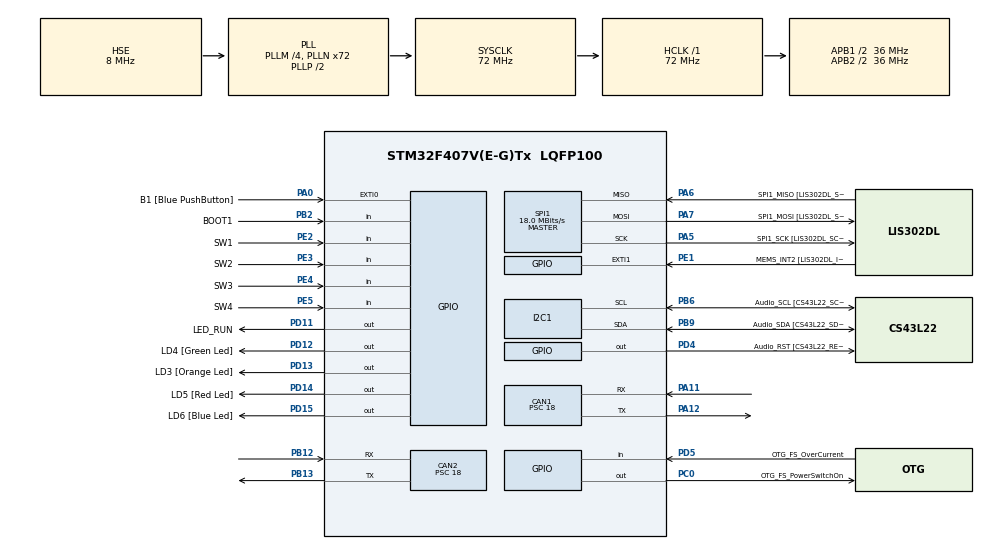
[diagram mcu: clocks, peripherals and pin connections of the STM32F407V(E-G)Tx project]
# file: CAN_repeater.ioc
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CAN1.BS1=CAN_BS1_13TQ
CAN1.BS2=CAN_BS2_2TQ
CAN1.CalculateBaudRate=125000
CAN1.CalculateTimeBit=8000
CAN1.CalculateTimeQuantum=500.0
CAN1.NART=ENABLE
CAN1.Prescaler=18
CAN2.BS1=CAN_BS1_13TQ
CAN2.BS2=CAN_BS2_2TQ
CAN2.CalculateBaudRate=125000
CAN2.CalculateTimeBit=8000
CAN2.CalculateTimeQuantum=500.0
CAN2.NART=ENABLE
CAN2.Prescaler=18
IWDG.Prescaler=IWDG_PRESCALER_16
Mcu.Family=STM32F4
Mcu.Name=STM32F407V(E-G)Tx
Mcu.Package=LQFP100
NVIC.CAN1_RX0_IRQn=true\:0\:0\:false\:false\:true\:true\:true
NVIC.CAN1_RX1_IRQn=true\:0\:0\:false\:false\:true\:true\:true
NVIC.CAN1_SCE_IRQn=true\:0\:0\:false\:false\:true\:true\:true
NVIC.CAN1_TX_IRQn=true\:0\:0\:false\:false\:true\:true\:true
NVIC.CAN2_RX0_IRQn=true\:0\:0\:false\:false\:true\:true\:true
NVIC.CAN2_RX1_IRQn=true\:0\:0\:false\:false\:true\:true\:true
NVIC.CAN2_SCE_IRQn=true\:0\:0\:false\:false\:true\:true\:true
NVIC.CAN2_TX_IRQn=true\:0\:0\:false\:false\:true\:true\:true
NVIC.PriorityGroup=NVIC_PRIORITYGROUP_0
NVIC.WWDG_IRQn=true\:0\:0\:false\:false\:true\:true\:true
PA0-WKUP.GPIO_Label=B1 [Blue PushButton]
PA0-WKUP.GPIO_ModeDefaultEXTI=GPIO_MODE_EVT_RISING
PA0-WKUP.GPIO_PuPd=GPIO_NOPULL
PA0-WKUP.Signal=GPXTI0
PA11.Mode=CAN_Activate
PA11.Signal=CAN1_RX
PA12.Mode=CAN_Activate
PA12.Signal=CAN1_TX
PA13.GPIO_Label=SWDIO
PA13.Mode=Serial_Wire
PA13.Signal=SYS_JTMS-SWDIO
PA14.GPIO_Label=SWCLK
PA14.Mode=Serial_Wire
PA14.Signal=SYS_JTCK-SWCLK
PA5.GPIO_Label=SPI1_SCK [LIS302DL_SCL/SPC]
PA5.GPIO_Mode=GPIO_MODE_AF_PP
PA5.GPIO_PuPd=GPIO_NOPULL
PA5.GPIO_Speed=GPIO_SPEED_FREQ_LOW
PA5.Mode=Full_Duplex_Master
PA5.Signal=SPI1_SCK
PA6.GPIO_Label=SPI1_MISO [LIS302DL_SDO]
PA6.GPIO_Mode=GPIO_MODE_AF_PP
PA6.GPIO_PuPd=GPIO_NOPULL
PA6.GPIO_Speed=GPIO_SPEED_FREQ_LOW
PA6.Mode=Full_Duplex_Master
PA6.Signal=SPI1_MISO
PA7.GPIO_Label=SPI1_MOSI [LIS302DL_SDA/SDI/SDO]
PA7.GPIO_Mode=GPIO_MODE_AF_PP
PA7.GPIO_PuPd=GPIO_NOPULL
PA7.GPIO_Speed=GPIO_SPEED_FREQ_LOW
PA7.Mode=Full_Duplex_Master
PA7.Signal=SPI1_MOSI
PB12.Mode=CAN_Activate
PB12.Signal=CAN2_RX
PB13.Mode=CAN_Activate
PB13.Signal=CAN2_TX
PB2.GPIO_Label=BOOT1
PB2.GPIO_Mode=GPIO_MODE_INPUT
PB2.GPIO_PuPd=GPIO_NOPULL
PB2.Signal=GPIO_Input
PB3.GPIO_Label=SWO
PB3.Signal=SYS_JTDO-SWO
PB6.GPIO_Label=Audio_SCL [CS43L22_SCL]
PB6.GPIO_Mode=GPIO_MODE_AF_OD
PB6.GPIO_Pu=GPIO_PULLUP
PB6.GPIO_PuPd=GPIO_NOPULL
PB6.GPIO_Speed=GPIO_SPEED_FREQ_LOW
PB6.Mode=I2C
PB6.Signal=I2C1_SCL
PB9.GPIO_Label=Audio_SDA [CS43L22_SDA]
PB9.GPIO_Mode=GPIO_MODE_AF_OD
PB9.GPIO_Pu=GPIO_PULLUP
PB9.GPIO_PuPd=GPIO_NOPULL
PB9.GPIO_Speed=GPIO_SPEED_FREQ_LOW
PB9.Mode=I2C
PB9.Signal=I2C1_SDA
PC0.GPIO_Label=OTG_FS_PowerSwitchOn
PC0.GPIO_PuPd=GPIO_NOPULL
PC0.GPIO_Speed=GPIO_SPEED_FREQ_LOW
PC0.PinState=GPIO_PIN_SET
PC0.Signal=GPIO_Output
PC10.GPIO_Label=I2S3_SCK [CS43L22_SCLK]
PC10.GPIO_Mode=GPIO_MODE_AF_PP
PC10.GPIO_PuPd=GPIO_NOPULL
PC10.GPIO_Speed=GPIO_SPEED_FREQ_LOW
PC10.Signal=I2S3_CK
PC12.GPIO_Label=I2S3_SD [CS43L22_SDIN]
PC12.GPIO_Mode=GPIO_MODE_AF_PP
PC12.GPIO_PuPd=GPIO_NOPULL
PC12.GPIO_Speed=GPIO_SPEED_FREQ_LOW
PC12.Signal=I2S3_SD
PC14-OSC32_IN.GPIO_Label=PC14-OSC32_IN
PC14-OSC32_IN.Mode=LSE-External-Oscillator
PC14-OSC32_IN.Signal=RCC_OSC32_IN
PC15-OSC32_OUT.GPIO_Label=PC15-OSC32_OUT
PC15-OSC32_OUT.Mode=LSE-External-Oscillator
PC15-OSC32_OUT.Signal=RCC_OSC32_OUT
PD11.GPIO_Label=LED_RUN
PD11.Signal=GPIO_Output
PD12.GPIO_Label=LD4 [Green Led]
PD12.GPIO_PuPd=GPIO_NOPULL
PD12.GPIO_Speed=GPIO_SPEED_FREQ_LOW
PD12.Signal=GPIO_Output
PD13.GPIO_Label=LD3 [Orange Led]
PD13.GPIO_PuPd=GPIO_NOPULL
PD13.GPIO_Speed=GPIO_SPEED_FREQ_LOW
PD13.Signal=GPIO_Output
PD14.GPIO_Label=LD5 [Red Led]
PD14.GPIO_PuPd=GPIO_NOPULL
PD14.GPIO_Speed=GPIO_SPEED_FREQ_LOW
PD14.Signal=GPIO_Output
PD15.GPIO_Label=LD6 [Blue Led]
PD15.GPIO_PuPd=GPIO_NOPULL
PD15.GPIO_Speed=GPIO_SPEED_FREQ_LOW
PD15.Signal=GPIO_Output
PD4.GPIO_Label=Audio_RST [CS43L22_RESET]
PD4.GPIO_PuPd=GPIO_NOPULL
PD4.GPIO_Speed=GPIO_SPEED_FREQ_LOW
PD4.Signal=GPIO_Output
PD5.GPIO_Label=OTG_FS_OverCurrent
PD5.GPIO_Mode=GPIO_MODE_INPUT
PD5.GPIO_PuPd=GPIO_NOPULL
PD5.Signal=GPIO_Input
PE1.GPIO_Label=MEMS_INT2 [LIS302DL_INT2]
PE1.GPIO_ModeDefaultEXTI=GPIO_MODE_EVT_RISING
PE1.GPIO_PuPd=GPIO_NOPULL
PE1.Signal=GPXTI1
PE2.GPIO_Label=SW1
PE2.Signal=GPIO_Input
PE3.GPIO_Label=SW2
PE3.Signal=GPIO_Input
PE4.GPIO_Label=SW3
PE4.Signal=GPIO_Input
PE5.GPIO_Label=SW4
PE5.Signal=GPIO_Input
PH0-OSC_IN.GPIO_Label=PH0-OSC_IN
PH0-OSC_IN.Mode=HSE-External-Oscillator
PH0-OSC_IN.Signal=RCC_OSC_IN
PH1-OSC_OUT.GPIO_Label=PH1-OSC_OUT
PH1-OSC_OUT.Mode=HSE-External-Oscillator
PH1-OSC_OUT.Signal=RCC_OSC_OUT
ProjectManager.HeapSize=0x2000
ProjectManager.StackSize=0x4000
ProjectManager.TargetToolchain=STM32CubeIDE
RCC.48MHZClocksFreq_Value=36000000
RCC.AHBFreq_Value=72000000
RCC.APB1CLKDivider=RCC_HCLK_DIV2
RCC.APB1Freq_Value=36000000
RCC.APB1TimFreq_Value=72000000
RCC.APB2CLKDivider=RCC_HCLK_DIV2
RCC.APB2Freq_Value=36000000
RCC.APB2TimFreq_Value=72000000
RCC.CortexFreq_Value=72000000
RCC.HCLKFreq_Value=72000000
RCC.HSE_VALUE=8000000
RCC.HSI_VALUE=16000000
RCC.PLLI2SN=50
RCC.PLLM=4
RCC.PLLN=72
RCC.PLLSourceVirtual=RCC_PLLSOURCE_HSE
RCC.SYSCLKFreq_VALUE=72000000
RCC.SYSCLKSource=RCC_SYSCLKSOURCE_PLLCLK
RCC.VCOOutputFreq_Value=144000000
SPI1.BaudRatePrescaler-Full_Duplex_Master=SPI_BAUDRATEPRESCALER_2
SPI1.CalculateBaudRate=18.0 MBits/s
SPI1.CalculateBaudRate-Full_Duplex_Master=42.0 MBits/s
SPI1.Direction=SPI_DIRECTION_2LINES
SPI1.Mode=SPI_MODE_MASTER
SPI1.Mode-Full_Duplex_Master=SPI_MODE_MASTER
SPI1.VirtualType=VM_MASTER
VP_IWDG_VS_IWDG.Mode=IWDG_Activate
VP_WWDG_VS_WWDG.Mode=WWDG_Activate
WWDG.Prescaler=WWDG_PRESCALER_8
board=STM32F407G-DISC1

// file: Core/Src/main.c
/* USER CODE BEGIN Header */
/**
  ******************************************************************************
  * @file           : main.c
  * @brief          : Main program body
  ******************************************************************************
  * @attention
  *
  * <h2><center>&copy; Copyright (c) 2021 STMicroelectronics.
  * All rights reserved.</center></h2>
  *
  * This software component is licensed by ST under Ultimate Liberty license
  * SLA0044, the "License"; You may not use this file except in compliance with
  * the License. You may obtain a copy of the License at:
  *                             www.st.com/SLA0044
  *
  ******************************************************************************
  */
/* USER CODE END Header */
#include "main.h"

/* USER CODE BEGIN Includes */
#include "string.h"
#include "canopen.h"

/* USER CODE END Includes */

/* USER CODE BEGIN PD */
#define CAN_RX_SIZE 8
/* USER CODE END PD */

CAN_HandleTypeDef hcan1;
CAN_HandleTypeDef hcan2;

I2C_HandleTypeDef hi2c1;

IWDG_HandleTypeDef hiwdg;

SPI_HandleTypeDef hspi1;

WWDG_HandleTypeDef hwwdg;

/* USER CODE BEGIN PV */
CAN_TxHeaderTypeDef CanTxHeader;
uint8_t CanTxData[8] = {0};
CAN_RxHeaderTypeDef Can1RxHeader[8];
uint8_t Can1RxData[8][8] = {0};
CAN_RxHeaderTypeDef Can2RxHeader[8];
uint8_t Can2RxData[8][8] = {0};
uint32_t              Tx1Mailbox;
uint32_t              Tx2Mailbox;
volatile uint8_t rc1=0,rc2=0,ri1=0,ri2=0,ro1=0,ro2=0;

uint32_t RxCan1_cnt =0,RxCan2_cnt =0;
uint32_t TxCan1_cnt =0,TxCan2_cnt =0;
char DebugBuf[1024];
uint16_t Debug_len =0;

volatile uint8_t Can1_tx_done =1;
volatile uint8_t Can2_tx_done =1;
/* USER CODE END PV */

void SystemClock_Config(void);
static void MX_GPIO_Init(void);
static void MX_CAN1_Init(void);
static void MX_CAN2_Init(void);
static void MX_I2C1_Init(void);
static void MX_SPI1_Init(void);
static void MX_WWDG_Init(void);
static void MX_IWDG_Init(void);
/* USER CODE BEGIN PFP */
static void MX_CAN1_slientMode_Init(void)
{

  /* USER CODE BEGIN CAN1_Init 0 */

  /* USER CODE END CAN1_Init 0 */

  /* USER CODE BEGIN CAN1_Init 1 */

  /* USER CODE END CAN1_Init 1 */
  hcan1.Instance = CAN1;
  hcan1.Init.Prescaler = 18;
  hcan1.Init.Mode = CAN_MODE_SILENT;
  hcan1.Init.SyncJumpWidth = CAN_SJW_1TQ;
  hcan1.Init.TimeSeg1 = CAN_BS1_13TQ;
  hcan1.Init.TimeSeg2 = CAN_BS2_2TQ;
  hcan1.Init.TimeTriggeredMode = DISABLE;
  hcan1.Init.AutoBusOff = DISABLE;
  hcan1.Init.AutoWakeUp = DISABLE;
  hcan1.Init.AutoRetransmission = ENABLE;
  hcan1.Init.ReceiveFifoLocked = DISABLE;
  hcan1.Init.TransmitFifoPriority = DISABLE;
  if (HAL_CAN_Init(&hcan1) != HAL_OK)
  {
    Error_Handler();
  }
  /* USER CODE BEGIN CAN1_Init 2 */

  /* USER CODE END CAN1_Init 2 */

}
/* USER CODE END PFP */

/* USER CODE BEGIN 0 */
char StrFunctionCode[16][10] = {"NMT      \0","EMERGENCY\0","TIME     \0","FC_3     \0","DOORS    \0","FC_5     \0","FC_6     \0","FC_7     \0","PDO_OUT  \0","PDO_IN   \0","MPDO     \0","TSDO     \0","RSDO     \0","FC_D     \0","HEARTBEAT\0","LSS      \0"};

void HAL_CAN_RxFifo0MsgPendingCallback(CAN_HandleTypeDef *hcan)
{
  /* Get RX message */
	if(hcan->Instance == hcan1.Instance)
	{
		  if (HAL_CAN_GetRxMessage(&hcan1, CAN_RX_FIFO0, &Can1RxHeader[ri1], Can1RxData[ri1]) != HAL_OK)
		  {
			/* Reception Error */
			  Error_Handler();
		  }
		  else
		  {
#if 0
			  uint8_t functioncode = ((Can1RxHeader[ri1].StdId>>3) & 0xF0);
			  uint8_t type = Can1RxData[ri1][0];
				uint16_t index;// = *(WORD *)&rx[ro][3];		/* read object index					*/
				uint8_t subindex;// = rx[ro][5];				/* read object subindex					*/
			  switch (functioncode) {
//				case 0x80:
//				case 0x00:
//				case 0xA0:
				case 0xC0:   //RDSO
					switch (type & COMMAND_SPECIFIER) {
						case INIT_WRITE_REQ:
							index = *(uint16_t *)&Can1RxData[ri1][1];		/* read object index					*/
							subindex = Can1RxData[ri1][3];				/* read object subindex					*/
							if (type & EXPEDITED_BIT)			/* expedited transfer					*/
							{
								switch (index) {
									case DOORRELAYTIME_CL:
//										  Debug_len =  sprintf(DebugBuf,"<= %s (%06lu)  0x%02lX 0x%02lX: 0x%02X 0x%02X 0x%02X 0x%02X 0x%02X 0x%02X 0x%02X 0x%02X \r\n",StrFunctionCode[(functioncode>>4)],HAL_GetTick(),(Can1RxHeader[ri1].StdId &0x7F),((Can1RxHeader[ri1].StdId>>3) & 0xF0),Can1RxData[ri1][0],Can1RxData[ri1][1],Can1RxData[ri1][2],Can1RxData[ri1][3],Can1RxData[ri1][4],Can1RxData[ri1][5],Can1RxData[ri1][6],Can1RxData[ri1][7]);
//										  CDC_Transmit_FS((uint8_t *)DebugBuf, Debug_len);
										break;
									default:
										break;
								}

							}
							break;
						case (INIT_READ_REQ):					/* init read or expedited read			*/
							index = *(uint16_t *)&Can1RxData[ri1][1];		/* read object index					*/
							subindex = Can1RxData[ri1][3];				/* read object subindex					*/
							switch (index)
							{
								case LOAD_VALUE:
//									  Debug_len =  sprintf(DebugBuf,"<= %s (%06lu)  0x%02lX 0x%02lX: 0x%02X 0x%02X 0x%02X 0x%02X 0x%02X 0x%02X 0x%02X 0x%02X \r\n",StrFunctionCode[(functioncode>>4)],HAL_GetTick(),(Can1RxHeader[ri1].StdId &0x7F),((Can1RxHeader[ri1].StdId>>3) & 0xF0),Can1RxData[ri1][0],Can1RxData[ri1][1],Can1RxData[ri1][2],Can1RxData[ri1][3],Can1RxData[ri1][4],Can1RxData[ri1][5],Can1RxData[ri1][6],Can1RxData[ri1][7]);
//									  CDC_Transmit_FS((uint8_t *)DebugBuf, Debug_len);
									break;
								default:
									break;
							}
							break;
						default:
							break;
					}
					break;
					 case DOORS:
//									  Debug_len =  sprintf(DebugBuf,"<= %s (%06lu)  0x%02lX 0x%02lX: 0x%02X 0x%02X 0x%02X 0x%02X 0x%02X 0x%02X 0x%02X 0x%02X \r\n",StrFunctionCode[(functioncode>>4)],HAL_GetTick(),(Can1RxHeader[ri1].StdId &0x7F),((Can1RxHeader[ri1].StdId>>3) & 0xF0),Can1RxData[ri1][0],Can1RxData[ri1][1],Can1RxData[ri1][2],Can1RxData[ri1][3],Can1RxData[ri1][4],Can1RxData[ri1][5],Can1RxData[ri1][6],Can1RxData[ri1][7]);
//									  CDC_Transmit_FS((uint8_t *)DebugBuf, Debug_len);
					  break;
				default:
					break;
			  }
#endif
			  RxCan1_cnt ++;
			  rc1++;
			  if(ri1 == (CAN_RX_SIZE -1)) { ri1 =0;}
			  else ri1++;

		  }
	}
	else	if (hcan->Instance == hcan2.Instance)
	{
		  if (HAL_CAN_GetRxMessage(&hcan2, CAN_RX_FIFO0, &Can2RxHeader[ri2], Can2RxData[ri2]) != HAL_OK)
		  {
			/* Reception Error */
			  Error_Handler();
		  }
		  else
		  {
//			  Debug_len =  sprintf(DebugBuf,"=> %s (%06lu)  0x%02lX 0x%02lX: 0x%02X 0x%02X 0x%02X 0x%02X 0x%02X 0x%02X 0x%02X 0x%02X \r\n",StrFunctionCode[(Can2RxHeader[ri2].StdId>>7)&0x0F],HAL_GetTick(),(Can2RxHeader[ri2].StdId &0x7F),((Can2RxHeader[ri2].StdId>>3) & 0xF0),Can2RxData[ri2][0],Can2RxData[ri2][1],Can2RxData[ri2][2],Can2RxData[ri2][3],Can2RxData[ri2][4],Can2RxData[ri2][5],Can2RxData[ri2][6],Can2RxData[ri2][7]);
//			  CDC_Transmit_FS((uint8_t *)DebugBuf, Debug_len);
			  HAL_GPIO_TogglePin(LD6_GPIO_Port, LD6_Pin);
			  RxCan2_cnt ++;
			  rc2++;
			  if(ri2 == (CAN_RX_SIZE -1)) { ri2 =0;}
			  else ri2++;

		  }
	}
}

int CNT_interrup[6] = {0};
void HAL_CAN_TxMailbox0CompleteCallback(CAN_HandleTypeDef *hcan)
{
	if(hcan->Instance == hcan1.Instance)
	{
		TxCan1_cnt++;
		Can1_tx_done = 1;
		CNT_interrup[0]++;
	}
	else if(hcan->Instance == hcan2.Instance)
	{
		HAL_GPIO_TogglePin(LED_RUN_GPIO_Port, LED_RUN_Pin);
		Can2_tx_done = 1;
		TxCan2_cnt++;
		CNT_interrup[1]++;
	}
}

void HAL_CAN_TxMailbox1CompleteCallback(CAN_HandleTypeDef *hcan)
{
	if(hcan->Instance == hcan1.Instance)
	{
		TxCan1_cnt++;
		Can1_tx_done = 1;
		CNT_interrup[2]++;
	}
	else if(hcan->Instance == hcan2.Instance)
	{
		HAL_GPIO_TogglePin(LED_RUN_GPIO_Port, LED_RUN_Pin);
		Can2_tx_done = 1;
		TxCan2_cnt++;
		CNT_interrup[3]++;
	}
}
void HAL_CAN_TxMailbox2CompleteCallback(CAN_HandleTypeDef *hcan)
{
	if(hcan->Instance == hcan1.Instance)
	{
		TxCan1_cnt++;
		Can1_tx_done = 1;
		CNT_interrup[4]++;
	}
	else if(hcan->Instance == hcan2.Instance)
	{
		HAL_GPIO_TogglePin(LED_RUN_GPIO_Port, LED_RUN_Pin);
		Can2_tx_done = 1;
		TxCan2_cnt++;
		CNT_interrup[5]++;
	}

}
int CAN1Mode =0;
/* USER CODE END 0 */

int main(void)
{

  /* MCU Configuration--------------------------------------------------------*/

  /* Reset of all peripherals, Initializes the Flash interface and the Systick. */
  HAL_Init();

  /* Configure the system clock */
  SystemClock_Config();

  /* Initialize all configured peripherals */
  MX_GPIO_Init();
  MX_CAN1_Init();
  MX_CAN2_Init();
  MX_I2C1_Init();
  MX_SPI1_Init();
 // MX_WWDG_Init();
  MX_IWDG_Init();
  /* USER CODE BEGIN 2 */

  CAN1Mode = HAL_GPIO_ReadPin(SW1_GPIO_Port, SW1_Pin);
  if(CAN1Mode == 0)
  {
	  HAL_CAN_DeInit(&hcan1);
	  MX_CAN1_slientMode_Init();
  }
	CAN_FilterTypeDef  sFilterConfig;
	sFilterConfig.FilterBank = 0;
	sFilterConfig.FilterMode = CAN_FILTERMODE_IDMASK;
	sFilterConfig.FilterScale = CAN_FILTERSCALE_32BIT;
	sFilterConfig.FilterIdHigh = 0x00;
	sFilterConfig.FilterIdLow = 0x0000;
	sFilterConfig.FilterMaskIdHigh = 0x0000;
	sFilterConfig.FilterMaskIdLow = 0x0000;
	sFilterConfig.FilterFIFOAssignment = CAN_RX_FIFO0;
	sFilterConfig.FilterActivation = ENABLE;
	sFilterConfig.SlaveStartFilterBank = 14;

	if(HAL_CAN_ConfigFilter(&hcan1, &sFilterConfig) != HAL_OK)
	{
	/* Filter configuration Error */
		Error_Handler();
	}
	sFilterConfig.FilterFIFOAssignment = CAN_RX_FIFO0;
	sFilterConfig.FilterBank = 15;
	if(HAL_CAN_ConfigFilter(&hcan2, &sFilterConfig) != HAL_OK)
	{
	/* Filter configuration Error */
		Error_Handler();
	}
	if (HAL_CAN_Start(&hcan1) != HAL_OK)
	{
	  /* Start Error */
		Error_Handler();
	}
	if (HAL_CAN_ActivateNotification(&hcan1, CAN_IT_RX_FIFO0_MSG_PENDING) != HAL_OK)
	{
	/* Notification Error */
		Error_Handler();
	}
	if (HAL_CAN_ActivateNotification(&hcan1, CAN_IT_TX_MAILBOX_EMPTY) != HAL_OK)
	{
	/* Notification Error */
		Error_Handler();
	}
	if (HAL_CAN_Start(&hcan2) != HAL_OK)
	{
	  /* Start Error */
	  Error_Handler();
	}
	if (HAL_CAN_ActivateNotification(&hcan2, CAN_IT_RX_FIFO0_MSG_PENDING) != HAL_OK)
	{
	/* Notification Error */
		Error_Handler();
	}
	if (HAL_CAN_ActivateNotification(&hcan2, CAN_IT_TX_MAILBOX_EMPTY) != HAL_OK)
	{
	/* Notification Error */
		Error_Handler();
	}
  /* USER CODE END 2 */

  /* Infinite loop */
  /* USER CODE BEGIN WHILE */
	uint32_t DebugTime =0;
  while (1)
  {
	  HAL_IWDG_Refresh(&hiwdg);

	  if(rc1)
	  {
		  CanTxHeader.StdId = Can1RxHeader[ro1].StdId;
		  CanTxHeader.RTR = Can1RxHeader[ro1].RTR;
		  CanTxHeader.IDE = Can1RxHeader[ro1].IDE;
		  CanTxHeader.DLC = Can1RxHeader[ro1].DLC;
		  CanTxHeader.TransmitGlobalTime = DISABLE;
		  memcpy(CanTxData,Can1RxData[ro1],8);
		  if(HAL_CAN_AddTxMessage(&hcan2, &CanTxHeader, CanTxData, &Tx1Mailbox) != HAL_OK)
		  {
			/* Transmission request Error */
			//Error_Handler();
		  }
		  else
		  {
			  Can2_tx_done =0;
			  if(ro1 == (CAN_RX_SIZE -1)) { ro1 =0;}
			  else ro1++;
			  rc1--;
		  }
	  }
	  if(rc2 )
	  {
		  CanTxHeader.StdId = Can2RxHeader[ro2].StdId;
		  CanTxHeader.RTR = Can2RxHeader[ro2].RTR;
		  CanTxHeader.IDE = Can2RxHeader[ro2].IDE;
		  CanTxHeader.DLC = Can2RxHeader[ro2].DLC;
		  CanTxHeader.TransmitGlobalTime = DISABLE;
		  memcpy(CanTxData,Can2RxData[ro2],8);
		  if(HAL_CAN_AddTxMessage(&hcan1, &CanTxHeader, CanTxData, &Tx2Mailbox) != HAL_OK)
		  {
			/* Transmission request Error */
			//Error_Handler();
		  }
		  else
		  {
			  Can1_tx_done =0;
			  if(ro2 == (CAN_RX_SIZE -1)) { ro2 =0;}
			  else ro2++;
			  rc2--;
		  }
	  }
//	  if(HAL_GetTick() > DebugTime)
//	  {
//		  DebugTime = HAL_GetTick() +500;
////		  HAL_GPIO_TogglePin(LED_RUN_GPIO_Port, LED_RUN_Pin);
////		  Debug_len =  sprintf(DebugBuf,"(%lu) %lu %lu %lu %lu\n",HAL_GetTick(),RxCan1_cnt,TxCan2_cnt,RxCan2_cnt,TxCan1_cnt);
////		  CDC_Transmit_FS((uint8_t *)DebugBuf, Debug_len);
////		  HAL_GPIO_TogglePin(LD4_GPIO_Port, LD4_Pin);
////		  CanTxHeader.StdId = 0x01;
////		  CanTxHeader.RTR = CAN_RTR_DATA;
////		  CanTxHeader.IDE = CAN_ID_STD;
////		  CanTxHeader.DLC = 7;
////		  CanTxHeader.TransmitGlobalTime = DISABLE;
////		  if(HAL_CAN_AddTxMessage(&hcan1, &CanTxHeader, Can2RxData[ro1], &Tx1Mailbox) != HAL_OK)
////		  {
////			/* Transmission request Error */
////			Error_Handler();
////		  }
////		  else
////		  {
////		  }
//	  }
//	  HAL_IWDG_Refresh(&hiwdg);
//	  HAL_WWDG_Refresh(&hwwdg);706481665
    /* USER CODE END WHILE */

  }
}

void SystemClock_Config(void)
{
  RCC_OscInitTypeDef RCC_OscInitStruct = {0};
  RCC_ClkInitTypeDef RCC_ClkInitStruct = {0};

  /** Configure the main internal regulator output voltage
  */
  __HAL_RCC_PWR_CLK_ENABLE();
  __HAL_PWR_VOLTAGESCALING_CONFIG(PWR_REGULATOR_VOLTAGE_SCALE1);
  /** Initializes the RCC Oscillators according to the specified parameters
  * in the RCC_OscInitTypeDef structure.
  */
  RCC_OscInitStruct.OscillatorType = RCC_OSCILLATORTYPE_LSI|RCC_OSCILLATORTYPE_HSE;
  RCC_OscInitStruct.HSEState = RCC_HSE_ON;
  RCC_OscInitStruct.LSIState = RCC_LSI_ON;
  RCC_OscInitStruct.PLL.PLLState = RCC_PLL_ON;
  RCC_OscInitStruct.PLL.PLLSource = RCC_PLLSOURCE_HSE;
  RCC_OscInitStruct.PLL.PLLM = 4;
  RCC_OscInitStruct.PLL.PLLN = 72;
  RCC_OscInitStruct.PLL.PLLP = RCC_PLLP_DIV2;
  RCC_OscInitStruct.PLL.PLLQ = 4;
  if (HAL_RCC_OscConfig(&RCC_OscInitStruct) != HAL_OK)
  {
    Error_Handler();
  }
  /** Initializes the CPU, AHB and APB buses clocks
  */
  RCC_ClkInitStruct.ClockType = RCC_CLOCKTYPE_HCLK|RCC_CLOCKTYPE_SYSCLK
                              |RCC_CLOCKTYPE_PCLK1|RCC_CLOCKTYPE_PCLK2;
  RCC_ClkInitStruct.SYSCLKSource = RCC_SYSCLKSOURCE_PLLCLK;
  RCC_ClkInitStruct.AHBCLKDivider = RCC_SYSCLK_DIV1;
  RCC_ClkInitStruct.APB1CLKDivider = RCC_HCLK_DIV2;
  RCC_ClkInitStruct.APB2CLKDivider = RCC_HCLK_DIV2;

  if (HAL_RCC_ClockConfig(&RCC_ClkInitStruct, FLASH_LATENCY_2) != HAL_OK)
  {
    Error_Handler();
  }
}

static void MX_CAN1_Init(void)
{

  hcan1.Instance = CAN1;
  hcan1.Init.Prescaler = 18;
  hcan1.Init.Mode = CAN_MODE_NORMAL;
  hcan1.Init.SyncJumpWidth = CAN_SJW_1TQ;
  hcan1.Init.TimeSeg1 = CAN_BS1_13TQ;
  hcan1.Init.TimeSeg2 = CAN_BS2_2TQ;
  hcan1.Init.TimeTriggeredMode = DISABLE;
  hcan1.Init.AutoBusOff = DISABLE;
  hcan1.Init.AutoWakeUp = DISABLE;
  hcan1.Init.AutoRetransmission = ENABLE;
  hcan1.Init.ReceiveFifoLocked = DISABLE;
  hcan1.Init.TransmitFifoPriority = DISABLE;
  if (HAL_CAN_Init(&hcan1) != HAL_OK)
  {
    Error_Handler();
  }

}

static void MX_CAN2_Init(void)
{

  hcan2.Instance = CAN2;
  hcan2.Init.Prescaler = 18;
  hcan2.Init.Mode = CAN_MODE_NORMAL;
  hcan2.Init.SyncJumpWidth = CAN_SJW_1TQ;
  hcan2.Init.TimeSeg1 = CAN_BS1_13TQ;
  hcan2.Init.TimeSeg2 = CAN_BS2_2TQ;
  hcan2.Init.TimeTriggeredMode = DISABLE;
  hcan2.Init.AutoBusOff = DISABLE;
  hcan2.Init.AutoWakeUp = DISABLE;
  hcan2.Init.AutoRetransmission = ENABLE;
  hcan2.Init.ReceiveFifoLocked = DISABLE;
  hcan2.Init.TransmitFifoPriority = DISABLE;
  if (HAL_CAN_Init(&hcan2) != HAL_OK)
  {
    Error_Handler();
  }

}

static void MX_I2C1_Init(void)
{

  hi2c1.Instance = I2C1;
  hi2c1.Init.ClockSpeed = 100000;
  hi2c1.Init.DutyCycle = I2C_DUTYCYCLE_2;
  hi2c1.Init.OwnAddress1 = 0;
  hi2c1.Init.AddressingMode = I2C_ADDRESSINGMODE_7BIT;
  hi2c1.Init.DualAddressMode = I2C_DUALADDRESS_DISABLE;
  hi2c1.Init.OwnAddress2 = 0;
  hi2c1.Init.GeneralCallMode = I2C_GENERALCALL_DISABLE;
  hi2c1.Init.NoStretchMode = I2C_NOSTRETCH_DISABLE;
  if (HAL_I2C_Init(&hi2c1) != HAL_OK)
  {
    Error_Handler();
  }

}

static void MX_IWDG_Init(void)
{

  hiwdg.Instance = IWDG;
  hiwdg.Init.Prescaler = IWDG_PRESCALER_16;
  hiwdg.Init.Reload = 4095;
  if (HAL_IWDG_Init(&hiwdg) != HAL_OK)
  {
    Error_Handler();
  }

}

static void MX_SPI1_Init(void)
{

  /* SPI1 parameter configuration*/
  hspi1.Instance = SPI1;
  hspi1.Init.Mode = SPI_MODE_MASTER;
  hspi1.Init.Direction = SPI_DIRECTION_2LINES;
  hspi1.Init.DataSize = SPI_DATASIZE_8BIT;
  hspi1.Init.CLKPolarity = SPI_POLARITY_LOW;
  hspi1.Init.CLKPhase = SPI_PHASE_1EDGE;
  hspi1.Init.NSS = SPI_NSS_SOFT;
  hspi1.Init.BaudRatePrescaler = SPI_BAUDRATEPRESCALER_2;
  hspi1.Init.FirstBit = SPI_FIRSTBIT_MSB;
  hspi1.Init.TIMode = SPI_TIMODE_DISABLE;
  hspi1.Init.CRCCalculation = SPI_CRCCALCULATION_DISABLE;
  hspi1.Init.CRCPolynomial = 10;
  if (HAL_SPI_Init(&hspi1) != HAL_OK)
  {
    Error_Handler();
  }

}

static void MX_WWDG_Init(void)
{

  hwwdg.Instance = WWDG;
  hwwdg.Init.Prescaler = WWDG_PRESCALER_8;
  hwwdg.Init.Window = 64;
  hwwdg.Init.Counter = 64;
  hwwdg.Init.EWIMode = WWDG_EWI_DISABLE;
  if (HAL_WWDG_Init(&hwwdg) != HAL_OK)
  {
    Error_Handler();
  }

}

static void MX_GPIO_Init(void)
{
  GPIO_InitTypeDef GPIO_InitStruct = {0};

  /* GPIO Ports Clock Enable */
  __HAL_RCC_GPIOE_CLK_ENABLE();
  __HAL_RCC_GPIOC_CLK_ENABLE();
  __HAL_RCC_GPIOH_CLK_ENABLE();
  __HAL_RCC_GPIOA_CLK_ENABLE();
  __HAL_RCC_GPIOB_CLK_ENABLE();
  __HAL_RCC_GPIOD_CLK_ENABLE();

  /*Configure GPIO pin Output Level */
  HAL_GPIO_WritePin(OTG_FS_PowerSwitchOn_GPIO_Port, OTG_FS_PowerSwitchOn_Pin, GPIO_PIN_SET);

  /*Configure GPIO pin Output Level */
  HAL_GPIO_WritePin(GPIOD, LED_RUN_Pin|LD4_Pin|LD3_Pin|LD5_Pin
                          |LD6_Pin|Audio_RST_Pin, GPIO_PIN_RESET);

  /*Configure GPIO pins : SW1_Pin SW2_Pin SW3_Pin SW4_Pin */
  GPIO_InitStruct.Pin = SW1_Pin|SW2_Pin|SW3_Pin|SW4_Pin;
  GPIO_InitStruct.Mode = GPIO_MODE_INPUT;
  GPIO_InitStruct.Pull = GPIO_NOPULL;
  HAL_GPIO_Init(GPIOE, &GPIO_InitStruct);

  /*Configure GPIO pin : OTG_FS_PowerSwitchOn_Pin */
  GPIO_InitStruct.Pin = OTG_FS_PowerSwitchOn_Pin;
  GPIO_InitStruct.Mode = GPIO_MODE_OUTPUT_PP;
  GPIO_InitStruct.Pull = GPIO_NOPULL;
  GPIO_InitStruct.Speed = GPIO_SPEED_FREQ_LOW;
  HAL_GPIO_Init(OTG_FS_PowerSwitchOn_GPIO_Port, &GPIO_InitStruct);

  /*Configure GPIO pin : B1_Pin */
  GPIO_InitStruct.Pin = B1_Pin;
  GPIO_InitStruct.Mode = GPIO_MODE_EVT_RISING;
  GPIO_InitStruct.Pull = GPIO_NOPULL;
  HAL_GPIO_Init(B1_GPIO_Port, &GPIO_InitStruct);

  /*Configure GPIO pin : BOOT1_Pin */
  GPIO_InitStruct.Pin = BOOT1_Pin;
  GPIO_InitStruct.Mode = GPIO_MODE_INPUT;
  GPIO_InitStruct.Pull = GPIO_NOPULL;
  HAL_GPIO_Init(BOOT1_GPIO_Port, &GPIO_InitStruct);

  /*Configure GPIO pins : LED_RUN_Pin LD4_Pin LD3_Pin LD5_Pin
                           LD6_Pin Audio_RST_Pin */
  GPIO_InitStruct.Pin = LED_RUN_Pin|LD4_Pin|LD3_Pin|LD5_Pin
                          |LD6_Pin|Audio_RST_Pin;
  GPIO_InitStruct.Mode = GPIO_MODE_OUTPUT_PP;
  GPIO_InitStruct.Pull = GPIO_NOPULL;
  GPIO_InitStruct.Speed = GPIO_SPEED_FREQ_LOW;
  HAL_GPIO_Init(GPIOD, &GPIO_InitStruct);

  /*Configure GPIO pins : I2S3_SCK_Pin I2S3_SD_Pin */
  GPIO_InitStruct.Pin = I2S3_SCK_Pin|I2S3_SD_Pin;
  GPIO_InitStruct.Mode = GPIO_MODE_AF_PP;
  GPIO_InitStruct.Pull = GPIO_NOPULL;
  GPIO_InitStruct.Speed = GPIO_SPEED_FREQ_LOW;
  GPIO_InitStruct.Alternate = GPIO_AF6_SPI3;
  HAL_GPIO_Init(GPIOC, &GPIO_InitStruct);

  /*Configure GPIO pin : OTG_FS_OverCurrent_Pin */
  GPIO_InitStruct.Pin = OTG_FS_OverCurrent_Pin;
  GPIO_InitStruct.Mode = GPIO_MODE_INPUT;
  GPIO_InitStruct.Pull = GPIO_NOPULL;
  HAL_GPIO_Init(OTG_FS_OverCurrent_GPIO_Port, &GPIO_InitStruct);

  /*Configure GPIO pin : MEMS_INT2_Pin */
  GPIO_InitStruct.Pin = MEMS_INT2_Pin;
  GPIO_InitStruct.Mode = GPIO_MODE_EVT_RISING;
  GPIO_InitStruct.Pull = GPIO_NOPULL;
  HAL_GPIO_Init(MEMS_INT2_GPIO_Port, &GPIO_InitStruct);

}

void Error_Handler(void)
{
  __disable_irq();
  while (1)
  {
  }
}
